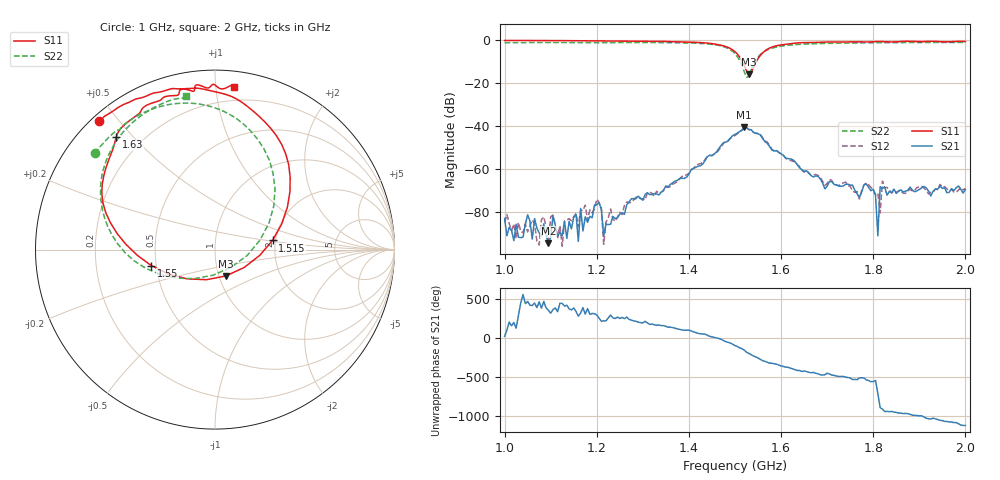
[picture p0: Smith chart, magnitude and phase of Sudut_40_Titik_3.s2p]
# Hz S RI R 50
! CMT, C1220, 16058040, 17.2.0/1
! Date: 14/08/2018 12:36:58
! Data: Format (Calibration Info)
! Freq  S11: Re/Im (F2)  S21: Re/Im (F2)  S12: Re/Im (F2)  S22: Re/Im (F2)
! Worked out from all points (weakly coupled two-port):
!   201 points, 1 GHz to 2 GHz, reference 50 ohm
!   highest |S21| = -40.70 dB at 1.52 GHz (marker M1); lowest = -94.7 dB at 1.095 GHz (marker M2)
!   lowest |S11| = -16.0 dB at 1.53 GHz (marker M3), VSWR 1.38, Z = 53.9 - j16.2 ohm
!   |S11| at or under -10 dB: 1.516 GHz to 1.547 GHz (31.13 MHz wide, 2.03 % of centre)
!   |S22| runs from -17.5 to -1.2 dB; largest |S21 - S12| = 0.00039
!   S11 on the Smith chart (normalised r, x): 1 GHz: 0.02, +0.44; 1.515 GHz: 1.93, +0.22; 1.55 GHz: 0.47, -0.10; 1.63 GHz: 0.11, +0.45; 2 GHz: 0.10, +1.12
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1e9  -0.646 0.7146  6.65e-05 2.05e-05  2.57e-05 5.06e-05  -0.6705 0.5356
1.095e9  -0.5558 0.7815  1.83e-05 -2.11e-06  9.42e-06 1.65e-05  -0.6157 0.6009
1.17e9  -0.4743 0.8233  3.19e-05 1.55e-05  8.17e-05 -6.82e-05  -0.5599 0.6539
1.2e9  -0.4324 0.8409  5.57e-05 -0.000134  6.64e-05 -0.000184  -0.5312 0.668
1.255e9  -0.3478 0.8706  -1.46e-05 -9.33e-05  -4.03e-05 -7.57e-05  -0.4875 0.7105
1.335e9  -0.2124 0.8959  -0.000236 6.92e-05  -0.000236 0.000122  -0.3762 0.7725
1.45e9  0.1865 0.7931  0.00197 0.000373  0.00202 0.000178  0.0156 0.7839
1.5e9  0.4178 0.3251  -0.00112 -0.00618  -0.00105 -0.00584  0.3345 0.339
1.515e9  0.3205 0.0509  -0.00604 -0.00503  -0.00592 -0.00523  0.2497 0.0514
1.52e9  0.2495 -0.0319  -0.00865 -0.00321  -0.00872 -0.00331  0.1788 -0.0333
1.53e9  0.0608 -0.1467  -0.00759 0.00287  -0.00763 0.00286  -0.0116 -0.1429
1.55e9  -0.3548 -0.0893  -0.00114 0.00643  -0.00143 0.00646  -0.3855 -0.1046
1.63e9  -0.551 0.6255  0.000943 -0.00114  0.000977 -0.00105  -0.6173 0.4624
1.67e9  -0.4333 0.7492  5.43e-05 -0.00064  5.85e-05 -0.000718  -0.5655 0.5797
1.77e9  -0.233 0.8576  -0.000198 -8.89e-05  -0.000187 -6.37e-05  -0.4377 0.7264
1.785e9  -0.2037 0.8627  -0.000441 7.75e-06  -0.000463 4.47e-05  -0.4187 0.7407
1.8e9  -0.1981 0.8824  -0.00031 0.000125  -0.000292 0.000153  -0.4005 0.7539
1.81e9  -0.1877 0.8928  2.74e-05 1.55e-06  -0.000271 1.45e-05  -0.3886 0.7624
1.815e9  -0.1783 0.894  -0.00038 -2.71e-05  -7.7e-05 5.33e-05  -0.383 0.7663
1.82e9  -0.1659 0.8931  -0.000335 9.82e-05  -0.000433 0.000275  -0.377 0.7695
1.835e9  -0.1268 0.8832  -0.000195 0.000223  -0.000145 0.000279  -0.3596 0.7806
2e9  0.1046 0.9059  0.000233 -0.000233  0.000243 -0.000248  -0.1592 0.854
